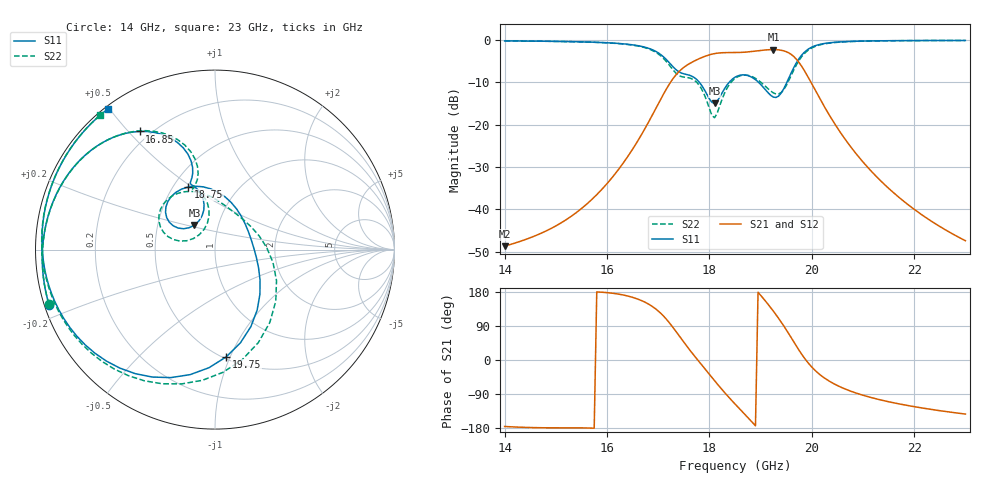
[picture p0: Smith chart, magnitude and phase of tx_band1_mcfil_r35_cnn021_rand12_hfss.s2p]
! Touchstone file exported from HFSS 3D Layout Design 2026.1.0
!  File:  D:/Work/SIM/ADS_AUTO_SIM/projects/RFSOC_RF/TX_Fillter.aedt
!  Generated:  03:09:39 AM Aug 31, 2026
!  Design:  TX_BAND1_MCFIL_R35_CNN021
!  Project:  TX_Fillter
# GHz S MA R 50.000000
! Terminal data exported
! Port[1] = Port1
! Port[2] = Port2
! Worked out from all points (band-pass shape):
!   181 points, 14 GHz to 23 GHz, reference 50 ohm
!   highest |S21| = -2.29 dB at 19.25 GHz (marker M1); lowest = -48.7 dB at 14 GHz (marker M2)
!   |S21| within 3 dB of the highest: 17.66 GHz to 19.75 GHz (2.09 GHz wide, 11.2 % of centre)
!   lowest |S11| = -15.0 dB at 18.1 GHz (marker M3), VSWR 1.43, Z = 38.4 + j10.8 ohm
!   |S11| at or under -10 dB: 17.8 GHz to 18.39 GHz (584.8 MHz wide, 3.23 % of centre); 18.96 GHz to 19.51 GHz (555.1 MHz wide, 2.89 % of centre)
!   |S22| runs from -18.4 to -0.1 dB; largest |S21 - S12| = 1.3e-14
!   S11 on the Smith chart (normalised r, x): 14 GHz: 0.01, -0.16; 16.85 GHz: 0.16, +0.54; 18.75 GHz: 0.59, +0.48; 19.75 GHz: 0.52, -0.97; 23 GHz: 0.01, +0.50
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14  0.974 -161.7  0.003667 -175.4  0.003667 -175.4  0.9739 -161.9
15.5  0.9482 168.5  0.01019 -179.1  0.01019 -179.1  0.947 168.0
16.25  0.9062 147.7  0.03095 173.3  0.03095 173.3  0.9022 146.7
16.85  0.7813 122.6  0.1181 144.3  0.1181 144.3  0.7672 120.3
17  0.7042 114.5  0.175 129.4  0.175 129.4  0.6834 111.6
17.25  0.5116 105.1  0.3223 92.8  0.3223 92.8  0.4745 101.9
17.5  0.3979 110.2  0.4739 47.0  0.4739 47.0  0.3636 110.0
17.8  0.3179 104.1  0.6003 -4.7  0.6003 -4.7  0.292 101.1
18.1  0.1782 129.9  0.689 -54.4  0.689 -54.4  0.1206 136.4
18.3  0.268 150.3  0.7076 -86.4  0.7076 -86.4  0.2383 166.4
18.5  0.3625 139.0  0.7089 -116.1  0.7089 -116.1  0.3505 153.1
18.75  0.3793 113.2  0.7213 -151.7  0.7213 -151.7  0.3822 128.5
19  0.2989 79.1  0.7508 170.9  0.7508 170.9  0.3178 101.4
19.25  0.2112 28.4  0.7686 128.8  0.7686 128.8  0.2368 66.8
19.5  0.3034 -34.2  0.7264 80.1  0.7264 80.1  0.2882 2.3
19.65  0.4735 -65.0  0.6347 47.5  0.6347 47.5  0.4443 -40.3
19.75  0.6008 -84.0  0.5416 25.9  0.5416 25.9  0.5718 -65.0
20  0.8217 -122.7  0.3032 -18.6  0.3032 -18.6  0.8035 -111.5
20.25  0.9084 -148.0  0.1611 -47.8  0.1611 -47.8  0.8984 -140.1
20.55  0.9473 -167.7  0.08221 -70.6  0.08221 -70.6  0.942 -161.7
21.5  0.9782 157.7  0.01769 -110.1  0.01769 -110.1  0.977 161.7
23  0.9851 127.2  0.004255 -142.7  0.004255 -142.7  0.9852 130.5
